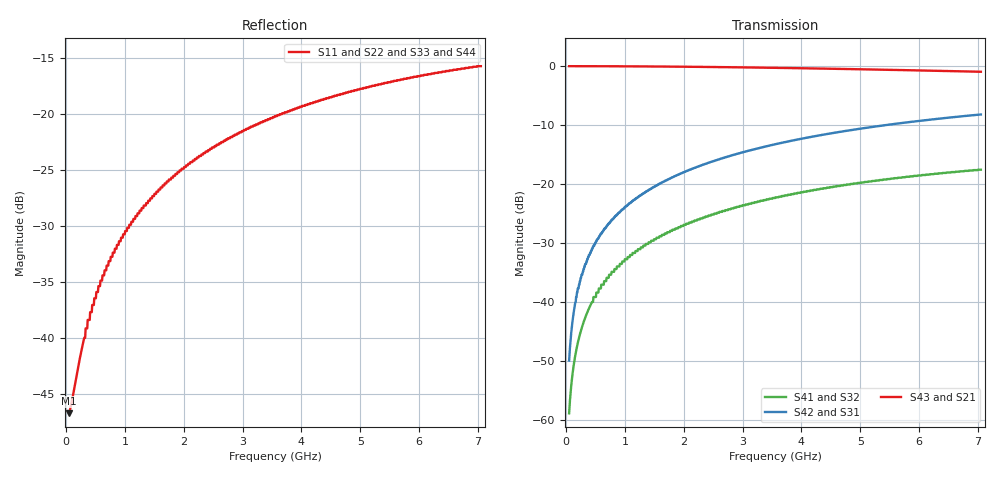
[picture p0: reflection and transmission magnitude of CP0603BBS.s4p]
# MHZ S MA R 50
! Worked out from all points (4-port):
!   1000 points, 50 MHz to 7.05 GHz, reference 50 ohm
!   strongest paths, dB at 50 MHz, 1.802 GHz, 3.554 GHz, 5.305 GHz, 7.05 GHz:
!     S43: 0.0, -0.1, -0.3, -0.6, -1.0
!     S21: 0.0, -0.1, -0.3, -0.6, -1.0
!     S42: -49.9, -18.9, -13.3, -10.2, -8.2
!     S31: -49.9, -18.9, -13.3, -10.2, -8.2
!     S41: -58.9, -28.0, -22.4, -19.4, -17.6
!     S32: -58.9, -28.0, -22.4, -19.4, -17.6
!   lowest |S11| = -46.8 dB at 50 MHz (marker M1), VSWR 1.01, Z = 50.4 + j0.145 ohm
!   |S11| at or under -10 dB: start of sweep to end of sweep
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50  0.004585 18.3  0.996 -0.2  0.003186 89.8  0.001137 -90.4
    0.996 -0.2  0.004585 18.3  0.001137 -90.4  0.003186 89.8
    0.003186 89.8  0.001137 -90.4  0.004585 18.3  0.996 -0.2
    0.001137 -90.4  0.003186 89.8  0.996 -0.2  0.004585 18.3
197.147  0.007226 51.7  0.996 -0.8  0.013 89.1  0.004482 -91.7
         0.996 -0.8  0.007226 51.7  0.004482 -91.7  0.013 89.1
         0.013 89.1  0.004482 -91.7  0.007226 51.7  0.996 -0.8
         0.004482 -91.7  0.013 89.1  0.996 -0.8  0.007226 51.7
442.392  0.014 68.4  0.995 -1.8  0.028 88.0  0.01 -93.8
         0.995 -1.8  0.014 68.4  0.01 -93.8  0.028 88.0
         0.028 88.0  0.01 -93.8  0.014 68.4  0.995 -1.8
         0.01 -93.8  0.028 88.0  0.995 -1.8  0.014 68.4
855.806  0.025 74.3  0.994 -3.4  0.054 86.1  0.019 -97.4
         0.994 -3.4  0.025 74.3  0.019 -97.4  0.054 86.1
         0.054 86.1  0.019 -97.4  0.025 74.3  0.994 -3.4
         0.019 -97.4  0.054 86.1  0.994 -3.4  0.025 74.3
1479.429  0.043 74.1  0.99 -5.9  0.094 83.2  0.033 -102.8
          0.99 -5.9  0.043 74.1  0.033 -102.8  0.094 83.2
          0.094 83.2  0.033 -102.8  0.043 74.1  0.99 -5.9
          0.033 -102.8  0.094 83.2  0.99 -5.9  0.043 74.1
3623.574  0.099 63.4  0.963 -14.1  0.221 73.9  0.078 -120.6
          0.963 -14.1  0.099 63.4  0.078 -120.6  0.221 73.9
          0.221 73.9  0.078 -120.6  0.099 63.4  0.963 -14.1
          0.078 -120.6  0.221 73.9  0.963 -14.1  0.099 63.4
7050  0.164 45.0  0.893 -25.4  0.388 61.2  0.132 -146.3
      0.893 -25.4  0.164 45.0  0.132 -146.3  0.388 61.2
      0.388 61.2  0.132 -146.3  0.164 45.0  0.893 -25.4
      0.132 -146.3  0.388 61.2  0.893 -25.4  0.164 45.0
